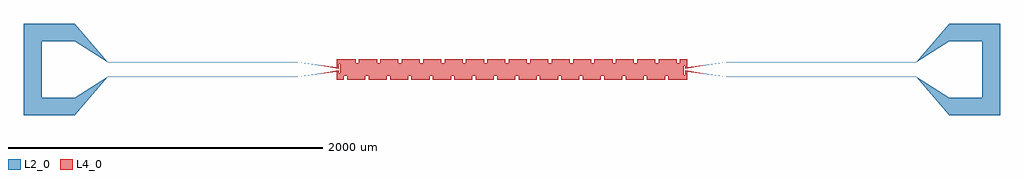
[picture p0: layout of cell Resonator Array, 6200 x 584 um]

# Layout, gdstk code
import gdstk
lib = gdstk.Library(unit=1e-6, precision=1e-09)
def P(c, l, *ps):  # polygons
    for p in ps: c.add(gdstk.Polygon(p, *l))
L2_0 = (2, 0)
L4_0 = (4, 0)

resonator_array = lib.new_cell('Resonator Array')
P(resonator_array, L2_0, [(2269,-9.844),(2269,-13.891),(2419,8.75),(3626,8.75),(3835.5,143.75),(4045,143.75),(4045,-216.25),(3835.5,-216.25),(3626,-81.25),(2419,-81.25),(2269,-58.609),(2269,-62.656),(2419,-82.75),(3626,-82.75),(3835.5,-328.25),(4157,-328.25),(4157,255.75),(3835.5,255.75),(3626,10.25),(2419,10.25)],
  [(-2043,255.75),(-2043,-328.25),(-1721.5,-328.25),(-1512,-82.75),(-305,-82.75),(-155,-62.656),(-155,-58.609),(-305,-81.25),(-1512,-81.25),(-1721.5,-216.25),(-1931,-216.25),(-1931,143.75),(-1721.5,143.75),(-1512,8.75),(-305,8.75),(-155,-13.891),(-155,-9.844),(-305,10.25),(-1512,10.25),(-1721.5,255.75)])
P(resonator_array, L4_0, [(783.5,29),(764.5,29),(764.5,5),(754.25,5),(754.25,-12.5),(767,-12.5),(767,-18),(741.5,-18),(741.5,-22.5),(767,-22.5),(767,-28),(741.5,-28),(741.5,-32.5),(767,-32.5),(767,-38),(741.5,-38),(741.5,-42.5),(767,-42.5),(767,-48),(741.5,-48),(741.5,-52.5),(754.25,-52.5),(754.25,-70.5),(777,-70.5),(777,-12.5),(779,-12.5),(779,-72.5),(729,-72.5),(729,-12.5),(731,-12.5),(731,-70.5),(753.75,-70.5),(753.75,-53),(741,-53),(741,-47.5),(766.5,-47.5),(766.5,-43),(741,-43),(741,-37.5),(766.5,-37.5),(766.5,-33),(741,-33),(741,-27.5),(766.5,-27.5),(766.5,-23),(741,-23),(741,-17.5),(766.5,-17.5),(766.5,-13),(753.75,-13),(753.75,5),(743.5,5),(743.5,29),(718.5,29),(718.5,-101.5),(783.5,-101.5)],
  [(919.5,29),(900.5,29),(900.5,5),(890.25,5),(890.25,-12.5),(903,-12.5),(903,-18),(877.5,-18),(877.5,-22.5),(903,-22.5),(903,-28),(877.5,-28),(877.5,-32.5),(903,-32.5),(903,-38),(877.5,-38),(877.5,-42.5),(903,-42.5),(903,-48),(877.5,-48),(877.5,-52.5),(890.25,-52.5),(890.25,-70.5),(913,-70.5),(913,-12.5),(915,-12.5),(915,-72.5),(865,-72.5),(865,-12.5),(867,-12.5),(867,-70.5),(889.75,-70.5),(889.75,-53),(877,-53),(877,-47.5),(902.5,-47.5),(902.5,-43),(877,-43),(877,-37.5),(902.5,-37.5),(902.5,-33),(877,-33),(877,-27.5),(902.5,-27.5),(902.5,-23),(877,-23),(877,-17.5),(902.5,-17.5),(902.5,-13),(889.75,-13),(889.75,5),(879.5,5),(879.5,29),(854.5,29),(854.5,-101.5),(919.5,-101.5)],
  [(1213.5,-77.5),(1223.75,-77.5),(1223.75,-59.5),(1236.5,-59.5),(1236.5,-55),(1211,-55),(1211,-49.5),(1236.5,-49.5),(1236.5,-45),(1211,-45),(1211,-39.5),(1236.5,-39.5),(1236.5,-35),(1211,-35),(1211,-29.5),(1236.5,-29.5),(1236.5,-25),(1211,-25),(1211,-19.5),(1223.75,-19.5),(1223.75,-2),(1201,-2),(1201,-60),(1199,-60),(1199,0),(1249,0),(1249,-60),(1247,-60),(1247,-2),(1224.25,-2),(1224.25,-20),(1211.5,-20),(1211.5,-24.5),(1237,-24.5),(1237,-30),(1211.5,-30),(1211.5,-34.5),(1237,-34.5),(1237,-40),(1211.5,-40),(1211.5,-44.5),(1237,-44.5),(1237,-50),(1211.5,-50),(1211.5,-54.5),(1237,-54.5),(1237,-60),(1224.25,-60),(1224.25,-77.5),(1234.5,-77.5),(1234.5,-101.5),(1259.5,-101.5),(1259.5,29),(1194.5,29),(1194.5,-101.5),(1213.5,-101.5)],
  [(1757.5,-77.5),(1767.75,-77.5),(1767.75,-59.5),(1780.5,-59.5),(1780.5,-55),(1755,-55),(1755,-49.5),(1780.5,-49.5),(1780.5,-45),(1755,-45),(1755,-39.5),(1780.5,-39.5),(1780.5,-35),(1755,-35),(1755,-29.5),(1780.5,-29.5),(1780.5,-25),(1755,-25),(1755,-19.5),(1767.75,-19.5),(1767.75,-2),(1745,-2),(1745,-60),(1743,-60),(1743,0),(1793,0),(1793,-60),(1791,-60),(1791,-2),(1768.25,-2),(1768.25,-20),(1755.5,-20),(1755.5,-24.5),(1781,-24.5),(1781,-30),(1755.5,-30),(1755.5,-34.5),(1781,-34.5),(1781,-40),(1755.5,-40),(1755.5,-44.5),(1781,-44.5),(1781,-50),(1755.5,-50),(1755.5,-54.5),(1781,-54.5),(1781,-60),(1768.25,-60),(1768.25,-77.5),(1778.5,-77.5),(1778.5,-101.5),(1803.5,-101.5),(1803.5,29),(1738.5,29),(1738.5,-101.5),(1757.5,-101.5)],
  [(1599.5,29),(1580.5,29),(1580.5,5),(1570.25,5),(1570.25,-12.5),(1583,-12.5),(1583,-18),(1557.5,-18),(1557.5,-22.5),(1583,-22.5),(1583,-28),(1557.5,-28),(1557.5,-32.5),(1583,-32.5),(1583,-38),(1557.5,-38),(1557.5,-42.5),(1583,-42.5),(1583,-48),(1557.5,-48),(1557.5,-52.5),(1570.25,-52.5),(1570.25,-70.5),(1593,-70.5),(1593,-12.5),(1595,-12.5),(1595,-72.5),(1545,-72.5),(1545,-12.5),(1547,-12.5),(1547,-70.5),(1569.75,-70.5),(1569.75,-53),(1557,-53),(1557,-47.5),(1582.5,-47.5),(1582.5,-43),(1557,-43),(1557,-37.5),(1582.5,-37.5),(1582.5,-33),(1557,-33),(1557,-27.5),(1582.5,-27.5),(1582.5,-23),(1557,-23),(1557,-17.5),(1582.5,-17.5),(1582.5,-13),(1569.75,-13),(1569.75,5),(1559.5,5),(1559.5,29),(1534.5,29),(1534.5,-101.5),(1599.5,-101.5)],
  [(1621.5,-77.5),(1631.75,-77.5),(1631.75,-59.5),(1644.5,-59.5),(1644.5,-55),(1619,-55),(1619,-49.5),(1644.5,-49.5),(1644.5,-45),(1619,-45),(1619,-39.5),(1644.5,-39.5),(1644.5,-35),(1619,-35),(1619,-29.5),(1644.5,-29.5),(1644.5,-25),(1619,-25),(1619,-19.5),(1631.75,-19.5),(1631.75,-2),(1609,-2),(1609,-60),(1607,-60),(1607,0),(1657,0),(1657,-60),(1655,-60),(1655,-2),(1632.25,-2),(1632.25,-20),(1619.5,-20),(1619.5,-24.5),(1645,-24.5),(1645,-30),(1619.5,-30),(1619.5,-34.5),(1645,-34.5),(1645,-40),(1619.5,-40),(1619.5,-44.5),(1645,-44.5),(1645,-50),(1619.5,-50),(1619.5,-54.5),(1645,-54.5),(1645,-60),(1632.25,-60),(1632.25,-77.5),(1642.5,-77.5),(1642.5,-101.5),(1667.5,-101.5),(1667.5,29),(1602.5,29),(1602.5,-101.5),(1621.5,-101.5)],
  [(511.5,29),(492.5,29),(492.5,5),(482.25,5),(482.25,-12.5),(495,-12.5),(495,-18),(469.5,-18),(469.5,-22.5),(495,-22.5),(495,-28),(469.5,-28),(469.5,-32.5),(495,-32.5),(495,-38),(469.5,-38),(469.5,-42.5),(495,-42.5),(495,-48),(469.5,-48),(469.5,-52.5),(482.25,-52.5),(482.25,-70.5),(505,-70.5),(505,-12.5),(507,-12.5),(507,-72.5),(457,-72.5),(457,-12.5),(459,-12.5),(459,-70.5),(481.75,-70.5),(481.75,-53),(469,-53),(469,-47.5),(494.5,-47.5),(494.5,-43),(469,-43),(469,-37.5),(494.5,-37.5),(494.5,-33),(469,-33),(469,-27.5),(494.5,-27.5),(494.5,-23),(469,-23),(469,-17.5),(494.5,-17.5),(494.5,-13),(481.75,-13),(481.75,5),(471.5,5),(471.5,29),(446.5,29),(446.5,-101.5),(511.5,-101.5)],
  [(1893.5,-77.5),(1903.75,-77.5),(1903.75,-59.5),(1916.5,-59.5),(1916.5,-55),(1891,-55),(1891,-49.5),(1916.5,-49.5),(1916.5,-45),(1891,-45),(1891,-39.5),(1916.5,-39.5),(1916.5,-35),(1891,-35),(1891,-29.5),(1916.5,-29.5),(1916.5,-25),(1891,-25),(1891,-19.5),(1903.75,-19.5),(1903.75,-2),(1881,-2),(1881,-60),(1879,-60),(1879,0),(1929,0),(1929,-60),(1927,-60),(1927,-2),(1904.25,-2),(1904.25,-20),(1891.5,-20),(1891.5,-24.5),(1917,-24.5),(1917,-30),(1891.5,-30),(1891.5,-34.5),(1917,-34.5),(1917,-40),(1891.5,-40),(1891.5,-44.5),(1917,-44.5),(1917,-50),(1891.5,-50),(1891.5,-54.5),(1917,-54.5),(1917,-60),(1904.25,-60),(1904.25,-77.5),(1914.5,-77.5),(1914.5,-101.5),(1939.5,-101.5),(1939.5,29),(1874.5,29),(1874.5,-101.5),(1893.5,-101.5)],
  [(1349.5,-77.5),(1359.75,-77.5),(1359.75,-59.5),(1372.5,-59.5),(1372.5,-55),(1347,-55),(1347,-49.5),(1372.5,-49.5),(1372.5,-45),(1347,-45),(1347,-39.5),(1372.5,-39.5),(1372.5,-35),(1347,-35),(1347,-29.5),(1372.5,-29.5),(1372.5,-25),(1347,-25),(1347,-19.5),(1359.75,-19.5),(1359.75,-2),(1337,-2),(1337,-60),(1335,-60),(1335,0),(1385,0),(1385,-60),(1383,-60),(1383,-2),(1360.25,-2),(1360.25,-20),(1347.5,-20),(1347.5,-24.5),(1373,-24.5),(1373,-30),(1347.5,-30),(1347.5,-34.5),(1373,-34.5),(1373,-40),(1347.5,-40),(1347.5,-44.5),(1373,-44.5),(1373,-50),(1347.5,-50),(1347.5,-54.5),(1373,-54.5),(1373,-60),(1360.25,-60),(1360.25,-77.5),(1370.5,-77.5),(1370.5,-101.5),(1395.5,-101.5),(1395.5,29),(1330.5,29),(1330.5,-101.5),(1349.5,-101.5)],
  [(1463.5,29),(1444.5,29),(1444.5,5),(1434.25,5),(1434.25,-12.5),(1447,-12.5),(1447,-18),(1421.5,-18),(1421.5,-22.5),(1447,-22.5),(1447,-28),(1421.5,-28),(1421.5,-32.5),(1447,-32.5),(1447,-38),(1421.5,-38),(1421.5,-42.5),(1447,-42.5),(1447,-48),(1421.5,-48),(1421.5,-52.5),(1434.25,-52.5),(1434.25,-70.5),(1457,-70.5),(1457,-12.5),(1459,-12.5),(1459,-72.5),(1409,-72.5),(1409,-12.5),(1411,-12.5),(1411,-70.5),(1433.75,-70.5),(1433.75,-53),(1421,-53),(1421,-47.5),(1446.5,-47.5),(1446.5,-43),(1421,-43),(1421,-37.5),(1446.5,-37.5),(1446.5,-33),(1421,-33),(1421,-27.5),(1446.5,-27.5),(1446.5,-23),(1421,-23),(1421,-17.5),(1446.5,-17.5),(1446.5,-13),(1433.75,-13),(1433.75,5),(1423.5,5),(1423.5,29),(1398.5,29),(1398.5,-101.5),(1463.5,-101.5)],
  [(1191.5,29),(1172.5,29),(1172.5,5),(1162.25,5),(1162.25,-12.5),(1175,-12.5),(1175,-18),(1149.5,-18),(1149.5,-22.5),(1175,-22.5),(1175,-28),(1149.5,-28),(1149.5,-32.5),(1175,-32.5),(1175,-38),(1149.5,-38),(1149.5,-42.5),(1175,-42.5),(1175,-48),(1149.5,-48),(1149.5,-52.5),(1162.25,-52.5),(1162.25,-70.5),(1185,-70.5),(1185,-12.5),(1187,-12.5),(1187,-72.5),(1137,-72.5),(1137,-12.5),(1139,-12.5),(1139,-70.5),(1161.75,-70.5),(1161.75,-53),(1149,-53),(1149,-47.5),(1174.5,-47.5),(1174.5,-43),(1149,-43),(1149,-37.5),(1174.5,-37.5),(1174.5,-33),(1149,-33),(1149,-27.5),(1174.5,-27.5),(1174.5,-23),(1149,-23),(1149,-17.5),(1174.5,-17.5),(1174.5,-13),(1161.75,-13),(1161.75,5),(1151.5,5),(1151.5,29),(1126.5,29),(1126.5,-101.5),(1191.5,-101.5)],
  [(533.5,-77.5),(543.75,-77.5),(543.75,-59.5),(556.5,-59.5),(556.5,-55),(531,-55),(531,-49.5),(556.5,-49.5),(556.5,-45),(531,-45),(531,-39.5),(556.5,-39.5),(556.5,-35),(531,-35),(531,-29.5),(556.5,-29.5),(556.5,-25),(531,-25),(531,-19.5),(543.75,-19.5),(543.75,-2),(521,-2),(521,-60),(519,-60),(519,0),(569,0),(569,-60),(567,-60),(567,-2),(544.25,-2),(544.25,-20),(531.5,-20),(531.5,-24.5),(557,-24.5),(557,-30),(531.5,-30),(531.5,-34.5),(557,-34.5),(557,-40),(531.5,-40),(531.5,-44.5),(557,-44.5),(557,-50),(531.5,-50),(531.5,-54.5),(557,-54.5),(557,-60),(544.25,-60),(544.25,-77.5),(554.5,-77.5),(554.5,-101.5),(579.5,-101.5),(579.5,29),(514.5,29),(514.5,-101.5),(533.5,-101.5)],
  [(-10.5,-77.5),(-0.25,-77.5),(-0.25,-59.5),(12.5,-59.5),(12.5,-55),(-13,-55),(-13,-49.5),(12.5,-49.5),(12.5,-45),(-13,-45),(-13,-39.5),(12.5,-39.5),(12.5,-35),(-13,-35),(-13,-29.5),(12.5,-29.5),(12.5,-25),(-13,-25),(-13,-19.5),(-0.25,-19.5),(-0.25,-2),(-23,-2),(-23,-60),(-25,-60),(-25,0),(25,0),(25,-60),(23,-60),(23,-2),(0.25,-2),(0.25,-20),(-12.5,-20),(-12.5,-24.5),(13,-24.5),(13,-30),(-12.5,-30),(-12.5,-34.5),(13,-34.5),(13,-40),(-12.5,-40),(-12.5,-44.5),(13,-44.5),(13,-50),(-12.5,-50),(-12.5,-54.5),(13,-54.5),(13,-60),(0.25,-60),(0.25,-77.5),(10.5,-77.5),(10.5,-101.5),(35.5,-101.5),(35.5,29),(-55,29),(-55,-23.24),(-156,-9.71),(-156,-13.74),(-45,-30.495),(-45,0),(-35,0),(-35,-60),(-45,-60),(-45,-42.005),(-156,-58.76),(-156,-62.79),(-55,-49.26),(-55,-101.5),(-10.5,-101.5)],
  [(1055.5,29),(1036.5,29),(1036.5,5),(1026.25,5),(1026.25,-12.5),(1039,-12.5),(1039,-18),(1013.5,-18),(1013.5,-22.5),(1039,-22.5),(1039,-28),(1013.5,-28),(1013.5,-32.5),(1039,-32.5),(1039,-38),(1013.5,-38),(1013.5,-42.5),(1039,-42.5),(1039,-48),(1013.5,-48),(1013.5,-52.5),(1026.25,-52.5),(1026.25,-70.5),(1049,-70.5),(1049,-12.5),(1051,-12.5),(1051,-72.5),(1001,-72.5),(1001,-12.5),(1003,-12.5),(1003,-70.5),(1025.75,-70.5),(1025.75,-53),(1013,-53),(1013,-47.5),(1038.5,-47.5),(1038.5,-43),(1013,-43),(1013,-37.5),(1038.5,-37.5),(1038.5,-33),(1013,-33),(1013,-27.5),(1038.5,-27.5),(1038.5,-23),(1013,-23),(1013,-17.5),(1038.5,-17.5),(1038.5,-13),(1025.75,-13),(1025.75,5),(1015.5,5),(1015.5,29),(990.5,29),(990.5,-101.5),(1055.5,-101.5)],
  [(2029.5,-77.5),(2039.75,-77.5),(2039.75,-59.5),(2052.5,-59.5),(2052.5,-55),(2027,-55),(2027,-49.5),(2052.5,-49.5),(2052.5,-45),(2027,-45),(2027,-39.5),(2052.5,-39.5),(2052.5,-35),(2027,-35),(2027,-29.5),(2052.5,-29.5),(2052.5,-25),(2027,-25),(2027,-19.5),(2039.75,-19.5),(2039.75,-2),(2017,-2),(2017,-60),(2015,-60),(2015,0),(2065,0),(2065,-60),(2063,-60),(2063,-2),(2040.25,-2),(2040.25,-20),(2027.5,-20),(2027.5,-24.5),(2053,-24.5),(2053,-30),(2027.5,-30),(2027.5,-34.5),(2053,-34.5),(2053,-40),(2027.5,-40),(2027.5,-44.5),(2053,-44.5),(2053,-50),(2027.5,-50),(2027.5,-54.5),(2053,-54.5),(2053,-60),(2040.25,-60),(2040.25,-77.5),(2050,-77.5),(2050,-101.5),(2075.5,-101.5),(2075.5,29),(2010.5,29),(2010.5,-101.5),(2029.5,-101.5)],
  [(1327.5,29),(1308.5,29),(1308.5,5),(1298.25,5),(1298.25,-12.5),(1311,-12.5),(1311,-18),(1285.5,-18),(1285.5,-22.5),(1311,-22.5),(1311,-28),(1285.5,-28),(1285.5,-32.5),(1311,-32.5),(1311,-38),(1285.5,-38),(1285.5,-42.5),(1311,-42.5),(1311,-48),(1285.5,-48),(1285.5,-52.5),(1298.25,-52.5),(1298.25,-70.5),(1321,-70.5),(1321,-12.5),(1323,-12.5),(1323,-72.5),(1273,-72.5),(1273,-12.5),(1275,-12.5),(1275,-70.5),(1297.75,-70.5),(1297.75,-53),(1285,-53),(1285,-47.5),(1310.5,-47.5),(1310.5,-43),(1285,-43),(1285,-37.5),(1310.5,-37.5),(1310.5,-33),(1285,-33),(1285,-27.5),(1310.5,-27.5),(1310.5,-23),(1285,-23),(1285,-17.5),(1310.5,-17.5),(1310.5,-13),(1297.75,-13),(1297.75,5),(1287.5,5),(1287.5,29),(1262.5,29),(1262.5,-101.5),(1327.5,-101.5)],
  [(397.5,-77.5),(407.75,-77.5),(407.75,-59.5),(420.5,-59.5),(420.5,-55),(395,-55),(395,-49.5),(420.5,-49.5),(420.5,-45),(395,-45),(395,-39.5),(420.5,-39.5),(420.5,-35),(395,-35),(395,-29.5),(420.5,-29.5),(420.5,-25),(395,-25),(395,-19.5),(407.75,-19.5),(407.75,-2),(385,-2),(385,-60),(383,-60),(383,0),(433,0),(433,-60),(431,-60),(431,-2),(408.25,-2),(408.25,-20),(395.5,-20),(395.5,-24.5),(421,-24.5),(421,-30),(395.5,-30),(395.5,-34.5),(421,-34.5),(421,-40),(395.5,-40),(395.5,-44.5),(421,-44.5),(421,-50),(395.5,-50),(395.5,-54.5),(421,-54.5),(421,-60),(408.25,-60),(408.25,-77.5),(418.5,-77.5),(418.5,-101.5),(443.5,-101.5),(443.5,29),(378.5,29),(378.5,-101.5),(397.5,-101.5)],
  [(2169,-49.26),(2270,-62.79),(2270,-58.76),(2159,-42.005),(2159,-72.5),(2149,-72.5),(2149,-12.5),(2159,-12.5),(2159,-30.495),(2270,-13.74),(2270,-9.71),(2169,-23.24),(2169,29),(2124,29),(2124,5),(2114.25,5),(2114.25,-12.5),(2127,-12.5),(2127,-18),(2101.5,-18),(2101.5,-22.5),(2127,-22.5),(2127,-28),(2101.5,-28),(2101.5,-32.5),(2127,-32.5),(2127,-38),(2101.5,-38),(2101.5,-42.5),(2127,-42.5),(2127,-48),(2101.5,-48),(2101.5,-52.5),(2114.25,-52.5),(2114.25,-70.5),(2137,-70.5),(2137,-12.5),(2139,-12.5),(2139,-72.5),(2089,-72.5),(2089,-12.5),(2091,-12.5),(2091,-70.5),(2113.75,-70.5),(2113.75,-53),(2101,-53),(2101,-47.5),(2126.5,-47.5),(2126.5,-43),(2101,-43),(2101,-37.5),(2126.5,-37.5),(2126.5,-33),(2101,-33),(2101,-27.5),(2126.5,-27.5),(2126.5,-23),(2101,-23),(2101,-17.5),(2126.5,-17.5),(2126.5,-13),(2113.75,-13),(2113.75,5),(2103.5,5),(2103.5,29),(2078.5,29),(2078.5,-101.5),(2169,-101.5)],
  [(1077.5,-77.5),(1087.75,-77.5),(1087.75,-59.5),(1100.5,-59.5),(1100.5,-55),(1075,-55),(1075,-49.5),(1100.5,-49.5),(1100.5,-45),(1075,-45),(1075,-39.5),(1100.5,-39.5),(1100.5,-35),(1075,-35),(1075,-29.5),(1100.5,-29.5),(1100.5,-25),(1075,-25),(1075,-19.5),(1087.75,-19.5),(1087.75,-2),(1065,-2),(1065,-60),(1063,-60),(1063,0),(1113,0),(1113,-60),(1111,-60),(1111,-2),(1088.25,-2),(1088.25,-20),(1075.5,-20),(1075.5,-24.5),(1101,-24.5),(1101,-30),(1075.5,-30),(1075.5,-34.5),(1101,-34.5),(1101,-40),(1075.5,-40),(1075.5,-44.5),(1101,-44.5),(1101,-50),(1075.5,-50),(1075.5,-54.5),(1101,-54.5),(1101,-60),(1088.25,-60),(1088.25,-77.5),(1098.5,-77.5),(1098.5,-101.5),(1123.5,-101.5),(1123.5,29),(1058.5,29),(1058.5,-101.5),(1077.5,-101.5)],
  [(375.5,29),(356.5,29),(356.5,5),(346.25,5),(346.25,-12.5),(359,-12.5),(359,-18),(333.5,-18),(333.5,-22.5),(359,-22.5),(359,-28),(333.5,-28),(333.5,-32.5),(359,-32.5),(359,-38),(333.5,-38),(333.5,-42.5),(359,-42.5),(359,-48),(333.5,-48),(333.5,-52.5),(346.25,-52.5),(346.25,-70.5),(369,-70.5),(369,-12.5),(371,-12.5),(371,-72.5),(321,-72.5),(321,-12.5),(323,-12.5),(323,-70.5),(345.75,-70.5),(345.75,-53),(333,-53),(333,-47.5),(358.5,-47.5),(358.5,-43),(333,-43),(333,-37.5),(358.5,-37.5),(358.5,-33),(333,-33),(333,-27.5),(358.5,-27.5),(358.5,-23),(333,-23),(333,-17.5),(358.5,-17.5),(358.5,-13),(345.75,-13),(345.75,5),(335.5,5),(335.5,29),(310.5,29),(310.5,-101.5),(375.5,-101.5)],
  [(2007.5,29),(1988.5,29),(1988.5,5),(1978.25,5),(1978.25,-12.5),(1991,-12.5),(1991,-18),(1965.5,-18),(1965.5,-22.5),(1991,-22.5),(1991,-28),(1965.5,-28),(1965.5,-32.5),(1991,-32.5),(1991,-38),(1965.5,-38),(1965.5,-42.5),(1991,-42.5),(1991,-48),(1965.5,-48),(1965.5,-52.5),(1978.25,-52.5),(1978.25,-70.5),(2001,-70.5),(2001,-12.5),(2003,-12.5),(2003,-72.5),(1953,-72.5),(1953,-12.5),(1955,-12.5),(1955,-70.5),(1977.75,-70.5),(1977.75,-53),(1965,-53),(1965,-47.5),(1990.5,-47.5),(1990.5,-43),(1965,-43),(1965,-37.5),(1990.5,-37.5),(1990.5,-33),(1965,-33),(1965,-27.5),(1990.5,-27.5),(1990.5,-23),(1965,-23),(1965,-17.5),(1990.5,-17.5),(1990.5,-13),(1977.75,-13),(1977.75,5),(1967.5,5),(1967.5,29),(1942.5,29),(1942.5,-101.5),(2007.5,-101.5)],
  [(261.5,-77.5),(271.75,-77.5),(271.75,-59.5),(284.5,-59.5),(284.5,-55),(259,-55),(259,-49.5),(284.5,-49.5),(284.5,-45),(259,-45),(259,-39.5),(284.5,-39.5),(284.5,-35),(259,-35),(259,-29.5),(284.5,-29.5),(284.5,-25),(259,-25),(259,-19.5),(271.75,-19.5),(271.75,-2),(249,-2),(249,-60),(247,-60),(247,0),(297,0),(297,-60),(295,-60),(295,-2),(272.25,-2),(272.25,-20),(259.5,-20),(259.5,-24.5),(285,-24.5),(285,-30),(259.5,-30),(259.5,-34.5),(285,-34.5),(285,-40),(259.5,-40),(259.5,-44.5),(285,-44.5),(285,-50),(259.5,-50),(259.5,-54.5),(285,-54.5),(285,-60),(272.25,-60),(272.25,-77.5),(282.5,-77.5),(282.5,-101.5),(307.5,-101.5),(307.5,29),(242.5,29),(242.5,-101.5),(261.5,-101.5)],
  [(647.5,29),(628.5,29),(628.5,5),(618.25,5),(618.25,-12.5),(631,-12.5),(631,-18),(605.5,-18),(605.5,-22.5),(631,-22.5),(631,-28),(605.5,-28),(605.5,-32.5),(631,-32.5),(631,-38),(605.5,-38),(605.5,-42.5),(631,-42.5),(631,-48),(605.5,-48),(605.5,-52.5),(618.25,-52.5),(618.25,-70.5),(641,-70.5),(641,-12.5),(643,-12.5),(643,-72.5),(593,-72.5),(593,-12.5),(595,-12.5),(595,-70.5),(617.75,-70.5),(617.75,-53),(605,-53),(605,-47.5),(630.5,-47.5),(630.5,-43),(605,-43),(605,-37.5),(630.5,-37.5),(630.5,-33),(605,-33),(605,-27.5),(630.5,-27.5),(630.5,-23),(605,-23),(605,-17.5),(630.5,-17.5),(630.5,-13),(617.75,-13),(617.75,5),(607.5,5),(607.5,29),(582.5,29),(582.5,-101.5),(647.5,-101.5)],
  [(125.5,-77.5),(135.75,-77.5),(135.75,-59.5),(148.5,-59.5),(148.5,-55),(123,-55),(123,-49.5),(148.5,-49.5),(148.5,-45),(123,-45),(123,-39.5),(148.5,-39.5),(148.5,-35),(123,-35),(123,-29.5),(148.5,-29.5),(148.5,-25),(123,-25),(123,-19.5),(135.75,-19.5),(135.75,-2),(113,-2),(113,-60),(111,-60),(111,0),(161,0),(161,-60),(159,-60),(159,-2),(136.25,-2),(136.25,-20),(123.5,-20),(123.5,-24.5),(149,-24.5),(149,-30),(123.5,-30),(123.5,-34.5),(149,-34.5),(149,-40),(123.5,-40),(123.5,-44.5),(149,-44.5),(149,-50),(123.5,-50),(123.5,-54.5),(149,-54.5),(149,-60),(136.25,-60),(136.25,-77.5),(146.5,-77.5),(146.5,-101.5),(171.5,-101.5),(171.5,29),(106.5,29),(106.5,-101.5),(125.5,-101.5)],
  [(1871.5,29),(1852.5,29),(1852.5,5),(1842.25,5),(1842.25,-12.5),(1855,-12.5),(1855,-18),(1829.5,-18),(1829.5,-22.5),(1855,-22.5),(1855,-28),(1829.5,-28),(1829.5,-32.5),(1855,-32.5),(1855,-38),(1829.5,-38),(1829.5,-42.5),(1855,-42.5),(1855,-48),(1829.5,-48),(1829.5,-52.5),(1842.25,-52.5),(1842.25,-70.5),(1865,-70.5),(1865,-12.5),(1867,-12.5),(1867,-72.5),(1817,-72.5),(1817,-12.5),(1819,-12.5),(1819,-70.5),(1841.75,-70.5),(1841.75,-53),(1829,-53),(1829,-47.5),(1854.5,-47.5),(1854.5,-43),(1829,-43),(1829,-37.5),(1854.5,-37.5),(1854.5,-33),(1829,-33),(1829,-27.5),(1854.5,-27.5),(1854.5,-23),(1829,-23),(1829,-17.5),(1854.5,-17.5),(1854.5,-13),(1841.75,-13),(1841.75,5),(1831.5,5),(1831.5,29),(1806.5,29),(1806.5,-101.5),(1871.5,-101.5)],
  [(239.5,29),(220.5,29),(220.5,5),(210.25,5),(210.25,-12.5),(223,-12.5),(223,-18),(197.5,-18),(197.5,-22.5),(223,-22.5),(223,-28),(197.5,-28),(197.5,-32.5),(223,-32.5),(223,-38),(197.5,-38),(197.5,-42.5),(223,-42.5),(223,-48),(197.5,-48),(197.5,-52.5),(210.25,-52.5),(210.25,-70.5),(233,-70.5),(233,-12.5),(235,-12.5),(235,-72.5),(185,-72.5),(185,-12.5),(187,-12.5),(187,-70.5),(209.75,-70.5),(209.75,-53),(197,-53),(197,-47.5),(222.5,-47.5),(222.5,-43),(197,-43),(197,-37.5),(222.5,-37.5),(222.5,-33),(197,-33),(197,-27.5),(222.5,-27.5),(222.5,-23),(197,-23),(197,-17.5),(222.5,-17.5),(222.5,-13),(209.75,-13),(209.75,5),(199.5,5),(199.5,29),(174.5,29),(174.5,-101.5),(239.5,-101.5)],
  [(805.5,-77.5),(815.75,-77.5),(815.75,-59.5),(828.5,-59.5),(828.5,-55),(803,-55),(803,-49.5),(828.5,-49.5),(828.5,-45),(803,-45),(803,-39.5),(828.5,-39.5),(828.5,-35),(803,-35),(803,-29.5),(828.5,-29.5),(828.5,-25),(803,-25),(803,-19.5),(815.75,-19.5),(815.75,-2),(793,-2),(793,-60),(791,-60),(791,0),(841,0),(841,-60),(839,-60),(839,-2),(816.25,-2),(816.25,-20),(803.5,-20),(803.5,-24.5),(829,-24.5),(829,-30),(803.5,-30),(803.5,-34.5),(829,-34.5),(829,-40),(803.5,-40),(803.5,-44.5),(829,-44.5),(829,-50),(803.5,-50),(803.5,-54.5),(829,-54.5),(829,-60),(816.25,-60),(816.25,-77.5),(826.5,-77.5),(826.5,-101.5),(851.5,-101.5),(851.5,29),(786.5,29),(786.5,-101.5),(805.5,-101.5)],
  [(103.5,29),(84.5,29),(84.5,5),(74.25,5),(74.25,-12.5),(87,-12.5),(87,-18),(61.5,-18),(61.5,-22.5),(87,-22.5),(87,-28),(61.5,-28),(61.5,-32.5),(87,-32.5),(87,-38),(61.5,-38),(61.5,-42.5),(87,-42.5),(87,-48),(61.5,-48),(61.5,-52.5),(74.25,-52.5),(74.25,-70.5),(97,-70.5),(97,-12.5),(99,-12.5),(99,-72.5),(49,-72.5),(49,-12.5),(51,-12.5),(51,-70.5),(73.75,-70.5),(73.75,-53),(61,-53),(61,-47.5),(86.5,-47.5),(86.5,-43),(61,-43),(61,-37.5),(86.5,-37.5),(86.5,-33),(61,-33),(61,-27.5),(86.5,-27.5),(86.5,-23),(61,-23),(61,-17.5),(86.5,-17.5),(86.5,-13),(73.75,-13),(73.75,5),(63.5,5),(63.5,29),(38.5,29),(38.5,-101.5),(103.5,-101.5)],
  [(941.5,-77.5),(951.75,-77.5),(951.75,-59.5),(964.5,-59.5),(964.5,-55),(939,-55),(939,-49.5),(964.5,-49.5),(964.5,-45),(939,-45),(939,-39.5),(964.5,-39.5),(964.5,-35),(939,-35),(939,-29.5),(964.5,-29.5),(964.5,-25),(939,-25),(939,-19.5),(951.75,-19.5),(951.75,-2),(929,-2),(929,-60),(927,-60),(927,0),(977,0),(977,-60),(975,-60),(975,-2),(952.25,-2),(952.25,-20),(939.5,-20),(939.5,-24.5),(965,-24.5),(965,-30),(939.5,-30),(939.5,-34.5),(965,-34.5),(965,-40),(939.5,-40),(939.5,-44.5),(965,-44.5),(965,-50),(939.5,-50),(939.5,-54.5),(965,-54.5),(965,-60),(952.25,-60),(952.25,-77.5),(962.5,-77.5),(962.5,-101.5),(987.5,-101.5),(987.5,29),(922.5,29),(922.5,-101.5),(941.5,-101.5)],
  [(1485.5,-77.5),(1495.75,-77.5),(1495.75,-59.5),(1508.5,-59.5),(1508.5,-55),(1483,-55),(1483,-49.5),(1508.5,-49.5),(1508.5,-45),(1483,-45),(1483,-39.5),(1508.5,-39.5),(1508.5,-35),(1483,-35),(1483,-29.5),(1508.5,-29.5),(1508.5,-25),(1483,-25),(1483,-19.5),(1495.75,-19.5),(1495.75,-2),(1473,-2),(1473,-60),(1471,-60),(1471,0),(1521,0),(1521,-60),(1519,-60),(1519,-2),(1496.25,-2),(1496.25,-20),(1483.5,-20),(1483.5,-24.5),(1509,-24.5),(1509,-30),(1483.5,-30),(1483.5,-34.5),(1509,-34.5),(1509,-40),(1483.5,-40),(1483.5,-44.5),(1509,-44.5),(1509,-50),(1483.5,-50),(1483.5,-54.5),(1509,-54.5),(1509,-60),(1496.25,-60),(1496.25,-77.5),(1506.5,-77.5),(1506.5,-101.5),(1531.5,-101.5),(1531.5,29),(1466.5,29),(1466.5,-101.5),(1485.5,-101.5)],
  [(1735.5,29),(1716.5,29),(1716.5,5),(1706.25,5),(1706.25,-12.5),(1719,-12.5),(1719,-18),(1693.5,-18),(1693.5,-22.5),(1719,-22.5),(1719,-28),(1693.5,-28),(1693.5,-32.5),(1719,-32.5),(1719,-38),(1693.5,-38),(1693.5,-42.5),(1719,-42.5),(1719,-48),(1693.5,-48),(1693.5,-52.5),(1706.25,-52.5),(1706.25,-70.5),(1729,-70.5),(1729,-12.5),(1731,-12.5),(1731,-72.5),(1681,-72.5),(1681,-12.5),(1683,-12.5),(1683,-70.5),(1705.75,-70.5),(1705.75,-53),(1693,-53),(1693,-47.5),(1718.5,-47.5),(1718.5,-43),(1693,-43),(1693,-37.5),(1718.5,-37.5),(1718.5,-33),(1693,-33),(1693,-27.5),(1718.5,-27.5),(1718.5,-23),(1693,-23),(1693,-17.5),(1718.5,-17.5),(1718.5,-13),(1705.75,-13),(1705.75,5),(1695.5,5),(1695.5,29),(1670.5,29),(1670.5,-101.5),(1735.5,-101.5)],
  [(669.5,-77.5),(679.75,-77.5),(679.75,-59.5),(692.5,-59.5),(692.5,-55),(667,-55),(667,-49.5),(692.5,-49.5),(692.5,-45),(667,-45),(667,-39.5),(692.5,-39.5),(692.5,-35),(667,-35),(667,-29.5),(692.5,-29.5),(692.5,-25),(667,-25),(667,-19.5),(679.75,-19.5),(679.75,-2),(657,-2),(657,-60),(655,-60),(655,0),(705,0),(705,-60),(703,-60),(703,-2),(680.25,-2),(680.25,-20),(667.5,-20),(667.5,-24.5),(693,-24.5),(693,-30),(667.5,-30),(667.5,-34.5),(693,-34.5),(693,-40),(667.5,-40),(667.5,-44.5),(693,-44.5),(693,-50),(667.5,-50),(667.5,-54.5),(693,-54.5),(693,-60),(680.25,-60),(680.25,-77.5),(690.5,-77.5),(690.5,-101.5),(715.5,-101.5),(715.5,29),(650.5,29),(650.5,-101.5),(669.5,-101.5)])

lib.write_gds('Resonator_Array.gds')
